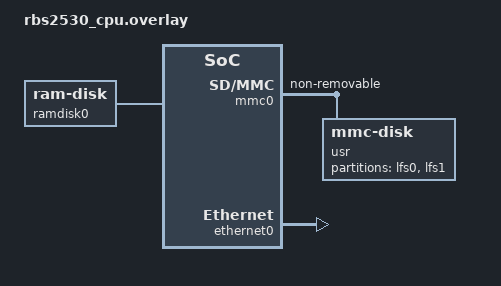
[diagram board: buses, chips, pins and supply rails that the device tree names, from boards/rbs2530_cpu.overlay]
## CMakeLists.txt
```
# SPDX-License-Identifier: Apache-2.0

cmake_minimum_required(VERSION 3.20.0)

find_package(Zephyr REQUIRED HINTS $ENV{ZEPHYR_BASE})
project(rte_basic)

target_sources(app PRIVATE src/main.c)
target_link_libraries(app PUBLIC ${CMAKE_CURRENT_SOURCE_DIR}/lib/librte.a)
```

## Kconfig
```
# Private config options for echo-server sample app

# Copyright (c) 2018 Intel Corporation
# SPDX-License-Identifier: Apache-2.0

mainmenu "app_rte"

config NET_SAMPLE_NUM_HANDLERS
	int "How many connections to serve at the same time"
	default 1
	help
	  Each connection is served by a thread which needs
	  memory. Only increase the value here if really needed.

config NET_SAMPLE_IFACE2_MY_IPV6_ADDR
	string "My IPv6 address for second interface"
	help
	  The value depends on your network setup.

config NET_SAMPLE_IFACE2_MY_IPV4_ADDR
	string "My IPv4 address for second interface"
	help
	  The value depends on your network setup.

config NET_SAMPLE_IFACE2_MY_IPV4_NETMASK
	string "My IPv4 netmask for second interface"
	help
	  The value depends on your network setup.

config NET_SAMPLE_IFACE2_VLAN_TAG
	int "VLAN tag for second interface"
	default 100
	range 0 4094
	depends on NET_VLAN
	help
	  Set VLAN (virtual LAN) tag (id) that is used in the sample
	  application.

config NET_SAMPLE_IFACE3_MY_IPV6_ADDR
	string "My IPv6 address for third interface"
	help
	  The value depends on your network setup.

config NET_SAMPLE_IFACE3_MY_IPV4_ADDR
	string "My IPv4 address for third interface"
	help
	  The value depends on your network setup.

config NET_SAMPLE_IFACE3_MY_IPV4_NETMASK
	string "My IPv4 netmask for third interface"
	help
	  The value depends on your network setup.

config NET_SAMPLE_IFACE3_VLAN_TAG
	int "VLAN tag for third interface"
	default 200
	range 0 4094
	depends on NET_VLAN
	help
	  Set VLAN (virtual LAN) tag (id) that is used in the sample
	  application.

config NET_SAMPLE_TUNNEL_PEER_ADDR
	string "Remote IP address of the tunnel interface"
	depends on NET_L2_IPIP
	help
	  Use overlay-tunnel.conf to setup the tunnel support.

config NET_SAMPLE_TUNNEL_MY_ADDR
	string "My address for tunnel interface"
	depends on NET_L2_IPIP
	help
	  The value depends on your network setup.

config NET_SAMPLE_PSK_HEADER_FILE
	string "Header file containing PSK"
	default "dummy_psk.h"
	depends on MBEDTLS_KEY_EXCHANGE_PSK_ENABLED
	help
	  Name of a header file containing a
	  pre-shared key.

config NET_SAMPLE_CERTS_WITH_SC
	bool "Signed certificates"
	depends on NET_SOCKETS_SOCKOPT_TLS
	help
	  Enable this flag, if you are interested to run this
	  application with signed certificates and keys.

config APP_WIPE_STORAGE
	bool "Option to clear the flash area before mounting"
	help
	  Use this to force an existing file system to be created.

choice
	prompt "Storage backend type used by the application"
	default APP_LITTLEFS_STORAGE_FLASH
	help
	  Specify the type of storage backend.

config APP_LITTLEFS_STORAGE_FLASH
	bool "Use flash memory backend"

config APP_LITTLEFS_STORAGE_BLK_SDMMC
	bool "Use block device (e.g. SD MMC) backend"
endchoice

source "Kconfig.zephyr"
```

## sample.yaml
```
sample:
  description: rbs2530 rte basic sample
  name: rbs2530 rte basic
common:
  tags: app
tests:
  sample.rbs2530.rte.basic:
    tags: app
    platform_allow:
      - rbs2530_cpu
```

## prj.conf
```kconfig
# Generic networking options
CONFIG_NETWORKING=y
CONFIG_NET_UDP=y
CONFIG_NET_TCP=y
CONFIG_NET_IPV6=y
CONFIG_NET_IPV4=y
CONFIG_NET_SOCKETS=y
CONFIG_POSIX_API=y
CONFIG_NET_CONNECTION_MANAGER=y
CONFIG_NET_HOSTNAME_ENABLE=y

# Kernel options
CONFIG_MAIN_STACK_SIZE=2048
CONFIG_ENTROPY_GENERATOR=y
CONFIG_TEST_RANDOM_GENERATOR=y
CONFIG_INIT_STACKS=y

# Logging
CONFIG_NET_LOG=y
CONFIG_LOG=y
CONFIG_ASSERT=n
CONFIG_NET_STATISTICS=y
CONFIG_PRINTK=y

# Network buffers
CONFIG_NET_PKT_RX_COUNT=16
CONFIG_NET_PKT_TX_COUNT=16
CONFIG_NET_BUF_RX_COUNT=64
CONFIG_NET_BUF_TX_COUNT=64
CONFIG_NET_CONTEXT_NET_PKT_POOL=y

# IP address options
CONFIG_NET_IF_UNICAST_IPV6_ADDR_COUNT=3
CONFIG_NET_IF_MCAST_IPV6_ADDR_COUNT=4
CONFIG_NET_MAX_CONTEXTS=10

# Network shell
CONFIG_NET_SHELL=y
CONFIG_SHELL=y

# Network application options and configuration
CONFIG_NET_CONFIG_SETTINGS=y
CONFIG_NET_CONFIG_NEED_IPV6=y
CONFIG_NET_CONFIG_MY_IPV6_ADDR="2001:db8::1"
CONFIG_NET_CONFIG_PEER_IPV6_ADDR="2001:db8::2"
CONFIG_NET_CONFIG_NEED_IPV4=y
CONFIG_NET_CONFIG_MY_IPV4_ADDR="192.168.10.188"
CONFIG_NET_CONFIG_PEER_IPV4_ADDR="192.168.10.1"

# Number of socket descriptors might need adjusting
# if there are more than 1 handlers defined.
CONFIG_ZVFS_OPEN_MAX=12

# How many client can connect to echo-server simultaneously
CONFIG_NET_SAMPLE_NUM_HANDLERS=1

CONFIG_ETH_NATIVE_POSIX=n
CONFIG_NET_DRIVERS=y
CONFIG_NET_SOCKETS=y
CONFIG_NET_SOCKETS_OFFLOAD=y
CONFIG_NET_NATIVE_OFFLOADED_SOCKETS=y

#HEAP 256MB
CONFIG_HEAP_MEM_POOL_SIZE=1048576
#200MB
CONFIG_COMMON_LIBC_MALLOC_ARENA_SIZE=1048576
CONFIG_SYS_HEAP_BIG_ONLY=y
#CONFIG_MMU=y
#CONFIG_MPU=y

# IPv6 DAD requires lower level network interface access, below exposed socket-level access
CONFIG_NET_IPV6_DAD=n

#little fs
CONFIG_FLASH=y

#CONFIG_FS_LOG_LEVEL_DBG=y

CONFIG_SHELL_LOG_LEVEL_INF=y

CONFIG_FILE_SYSTEM=y
CONFIG_FILE_SYSTEM_SHELL=y

CONFIG_FILE_SYSTEM_LITTLEFS=y
CONFIG_FLASH_MAP=y

#threads
CONFIG_SCHED_CPU_MASK=y
CONFIG_MP_MAX_NUM_CPUS=1

CONFIG_INIT_STACKS=y
CONFIG_THREAD_STACK_INFO=y
CONFIG_MAX_THREAD_BYTES=5
CONFIG_DYNAMIC_THREAD=y
CONFIG_DYNAMIC_THREAD_POOL_SIZE=16
CONFIG_DYNAMIC_THREAD_ALLOC=y
CONFIG_POSIX_THREAD_THREADS_MAX=64
CONFIG_MAX_PTHREAD_MUTEX_COUNT=64

#CPU
#CONFIG_SMP=y
#CONFIG_MP_MAX_NUM_CPUS=4
#CONFIG_SYS_CLOCK_HW_CYCLES_PER_SEC=100000000

#SYSTEM TICKS
CONFIG_SYS_CLOCK_TICKS_PER_SEC=1000

#SYSTEM PRIORITIES
CONFIG_NUM_COOP_PRIORITIES=16
CONFIG_NUM_PREEMPT_PRIORITIES=127

CONFIG_TIMESLICE_SIZE=1
```

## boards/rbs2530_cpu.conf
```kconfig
# Application configuration
CONFIG_APP_LITTLEFS_STORAGE_BLK_SDMMC=y

# SDMMC configuration
CONFIG_GPIO=y
CONFIG_SDHC=y
CONFIG_SDMMC_STACK=y

# Disk driver configuration
CONFIG_DISK_DRIVERS=y
CONFIG_DISK_ACCESS=y
CONFIG_DISK_DRIVER_SDMMC=y
CONFIG_DISK_DRIVER_MMC=y

# Littlefs configuration
CONFIG_FS_LITTLEFS_BLK_DEV=y
CONFIG_FS_LITTLEFS_CACHE_SIZE=512

CONFIG_ARM_MMU_NUM_L2_TABLES=1024

# FATFS
CONFIG_FILE_SYSTEM=y
CONFIG_FILE_SYSTEM_MKFS=y
CONFIG_FAT_FILESYSTEM_ELM=y

CONFIG_MAIN_STACK_SIZE=8192
CONFIG_SYSTEM_WORKQUEUE_STACK_SIZE=8192
CONFIG_NET_SOCKETS_SERVICE_STACK_SIZE=8192
CONFIG_NET_CONNECTION_MANAGER_MONITOR_STACK_SIZE=8192
CONFIG_ETH_FMQL=y
CONFIG_MDIO=y
CONFIG_SERIAL_INIT_PRIORITY=50
CONFIG_ETH_INIT_PRIORITY=95
# CONFIG_NO_OPTIMIZATIONS=y
CONFIG_NOCACHE_MEMORY=y

CONFIG_NET_L2_ETHERNET=y
CONFIG_NET_L2_ETHERNET_MGMT=y
CONFIG_NET_ICMPV4_ACCEPT_BROADCAST=y
CONFIG_NET_SOCKETS_SERVICE=y
CONFIG_NET_SOCKETS_SERVICE_THREAD_PRIO=10
CONFIG_NET_SOCKETS=y
CONFIG_NET_SOCKETS_POSIX_NAMES=y
CONFIG_NET_SOCKETS_POLL_MAX=128

CONFIG_NET_PKT_RX_COUNT=256
CONFIG_NET_PKT_TX_COUNT=256
CONFIG_NET_BUF_RX_COUNT=800
CONFIG_NET_BUF_TX_COUNT=800

CONFIG_NET_ZPERF=y


CONFIG_NET_TCP_MAX_RECV_WINDOW_SIZE=65535
CONFIG_NET_TCP_MAX_SEND_WINDOW_SIZE=65535

CONFIG_NET_BUF_DATA_SIZE=1536

# eMMC driver
CONFIG_SDHC=y
CONFIG_MMC_STACK=y

# littlefs for eMMC
CONFIG_DISK_ACCESS=y
CONFIG_DISK_DRIVER_MMC=y
CONFIG_FS_LITTLEFS_BLK_DEV=y
CONFIG_FS_LITTLEFS_HEAP_PER_ALLOC_OVERHEAD_SIZE=128

# app for eMMC
CONFIG_APP_LITTLEFS_STORAGE_BLK_SDMMC=y
```

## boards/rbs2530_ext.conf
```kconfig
# Application configuration
CONFIG_APP_LITTLEFS_STORAGE_BLK_SDMMC=y

# SDMMC configuration
CONFIG_GPIO=y
CONFIG_SDHC=y
CONFIG_SDMMC_STACK=y

# Disk driver configuration
CONFIG_DISK_DRIVERS=y
CONFIG_DISK_ACCESS=y
CONFIG_DISK_DRIVER_SDMMC=y
CONFIG_DISK_DRIVER_MMC=y

# Littlefs configuration
CONFIG_FS_LITTLEFS_BLK_DEV=y
CONFIG_FS_LITTLEFS_CACHE_SIZE=512

CONFIG_ARM_MMU_NUM_L2_TABLES=1024

# FATFS
CONFIG_FILE_SYSTEM=y
CONFIG_FILE_SYSTEM_MKFS=y
CONFIG_FAT_FILESYSTEM_ELM=y

CONFIG_MAIN_STACK_SIZE=8192
CONFIG_SYSTEM_WORKQUEUE_STACK_SIZE=8192
CONFIG_NET_SOCKETS_SERVICE_STACK_SIZE=8192
CONFIG_NET_CONNECTION_MANAGER_MONITOR_STACK_SIZE=8192
CONFIG_ETH_FMQL=y
CONFIG_MDIO=y
CONFIG_SERIAL_INIT_PRIORITY=50
CONFIG_ETH_INIT_PRIORITY=80
# CONFIG_NO_OPTIMIZATIONS=y
CONFIG_NOCACHE_MEMORY=y

CONFIG_NET_L2_ETHERNET=y
CONFIG_NET_L2_ETHERNET_MGMT=y
CONFIG_NET_ICMPV4_ACCEPT_BROADCAST=y
CONFIG_NET_SOCKETS_SERVICE=y
CONFIG_NET_SOCKETS_SERVICE_THREAD_PRIO=10
CONFIG_NET_SOCKETS=y
CONFIG_NET_SOCKETS_POSIX_NAMES=y
CONFIG_NET_SOCKETS_POLL_MAX=128

CONFIG_NET_PKT_RX_COUNT=256
CONFIG_NET_PKT_TX_COUNT=256
CONFIG_NET_BUF_RX_COUNT=800
CONFIG_NET_BUF_TX_COUNT=800

CONFIG_NET_ZPERF=y


CONFIG_NET_TCP_MAX_RECV_WINDOW_SIZE=65535
CONFIG_NET_TCP_MAX_SEND_WINDOW_SIZE=65535

CONFIG_NET_BUF_DATA_SIZE=1536

# eMMC driver
CONFIG_SDHC=y
CONFIG_MMC_STACK=y

# littlefs for eMMC
CONFIG_DISK_ACCESS=y
CONFIG_DISK_DRIVER_MMC=y
CONFIG_FS_LITTLEFS_BLK_DEV=y
CONFIG_FS_LITTLEFS_HEAP_PER_ALLOC_OVERHEAD_SIZE=128

# app for eMMC
CONFIG_APP_LITTLEFS_STORAGE_BLK_SDMMC=y
```

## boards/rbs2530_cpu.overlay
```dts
/**
 * Copyright (c) 2024 SYSTech Co.
 * SPDX-License-Identifier: Apache-2.0
 */

#include <zephyr/dt-bindings/gpio/gpio.h>

/ {
	ramdisk0 {
		compatible = "zephyr,ram-disk";
		disk-name = "RAM";
		sector-size = <512>;
		sector-count = <128>;
	};
};

&mmc0 {
	status = "okay";
	non-removable;

	usr {
		compatible = "zephyr,mmc-disk";
		status = "okay";
		bus-width = <4>;
		disk-name = "MMC";

		partitions {
			compatible = "fixed-partitions";
			#address-cells = <1>;
			#size-cells = <1>;

			lfs0_partition: partition@0 {
				label = "lfs0";
				reg = <0x00000000 0x08000000>;
			};

			lfs1_partition: partition@8000000 {
				label = "lfs1";
				reg = <0x08000000 0x08000000>;
			};
		};
	};
};

&gpio1 {
	status = "okay";
};

&ethernet0 {
	status = "okay";
	local-mac-address = [00 80 E1 00 00 00];
};
```

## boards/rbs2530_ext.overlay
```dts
/**
 * Copyright (c) 2024 SYSTech Co.
 * SPDX-License-Identifier: Apache-2.0
 */

#include <zephyr/dt-bindings/gpio/gpio.h>

/ {
	ramdisk0 {
		compatible = "zephyr,ram-disk";
		disk-name = "RAM";
		sector-size = <512>;
		sector-count = <128>;
	};
};

&mmc0 {
	status = "okay";
	non-removable;

	usr {
		compatible = "zephyr,mmc-disk";
		status = "okay";
		bus-width = <4>;
	};
};

&gpio1 {
	status = "okay";
};

&ethernet0 {
	status = "okay";
	local-mac-address = [00 80 E1 00 00 00];
};
```

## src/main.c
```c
/*
 * Copyright (c) 2024 SYSTech Co.
 *
 * SPDX-License-Identifier: Apache-2.0
 */

#include <errno.h>
#include <stdint.h>
#include <stdio.h>
#include <zephyr/devicetree.h>
#include <zephyr/drivers/disk.h>
#include <zephyr/fs/fs.h>
#include <zephyr/fs/littlefs.h>
#include <zephyr/kernel.h>
#include <zephyr/logging/log.h>
#include <zephyr/sd/sd_spec.h>
#include <zephyr/storage/disk_access.h>
#include <zephyr/sys_clock.h>
#include <ff.h>

#include "rte_main.h"

#define LOG_MODULE_NAME main
LOG_MODULE_REGISTER(LOG_MODULE_NAME, LOG_LEVEL_DBG);

static int fs_default_mount(void);

int main(void)
{
	int32_t ret;
	uint32_t sleep_ms = 10;

	LOG_INF("Board name is %s\n", CONFIG_BOARD_TARGET);
	if (fs_default_mount()) {
		return -1;
	}

	ret = RteInit();
	if (ret != 0) {
		LOG_ERR("RteInit err");
		return ret;
	}

	while (1) {
		k_msleep(sleep_ms);
	}
	return 0;
}

#if defined(CONFIG_DISK_DRIVER_SDMMC)
#define DISK_NAME CONFIG_SDMMC_VOLUME_NAME
#elif defined(CONFIG_DISK_DRIVER_MMC)
#define DISK_NAME CONFIG_MMC_VOLUME_NAME
#else
#error "No disk device defined, is your board supported?"
#endif

#define LFS0_PARTITION_NODE DT_NODELABEL(lfs0_partition)
#define LFS1_PARTITION_NODE DT_NODELABEL(lfs1_partition)

struct partition_disk {
	struct disk_info info;
	const char *parent_name;
	uint32_t offset;
	uint32_t size;
	uint32_t start_sector;
	uint32_t sector_count;
	uint32_t sector_size;
};

static struct partition_disk *partition_from_disk(struct disk_info *disk)
{
	return CONTAINER_OF(disk, struct partition_disk, info);
}

static int partition_setup(struct partition_disk *part)
{
	uint32_t parent_sector_count;
	uint64_t parent_size;
	uint64_t end;
	int ret;

	if (part->sector_size != 0U) {
		return 0;
	}

	ret = disk_access_init(part->parent_name);
	if (ret < 0) {
		return ret;
	}

	ret = disk_access_ioctl(part->parent_name, DISK_IOCTL_GET_SECTOR_SIZE, &part->sector_size);
	if (ret < 0) {
		return ret;
	}

	ret = disk_access_ioctl(part->parent_name, DISK_IOCTL_GET_SECTOR_COUNT,
			       &parent_sector_count);
	if (ret < 0) {
		return ret;
	}

	if ((part->offset % part->sector_size) != 0U || (part->size % part->sector_size) != 0U) {
		return -EINVAL;
	}

	end = (uint64_t)part->offset + part->size;
	parent_size = (uint64_t)parent_sector_count * part->sector_size;
	if (end < part->offset || end > parent_size) {
		return -EINVAL;
	}

	part->start_sector = part->offset / part->sector_size;
	part->sector_count = part->size / part->sector_size;

	return 0;
}

static int partition_disk_init(struct disk_info *disk)
{
	return partition_setup(partition_from_disk(disk));
}

static int partition_disk_status(struct disk_info *disk)
{
	struct partition_disk *part = partition_from_disk(disk);

	return disk_access_status(part->parent_name);
}

static int partition_disk_read(struct disk_info *disk, uint8_t *data_buf, uint32_t start_sector,
			       uint32_t num_sector)
{
	struct partition_disk *part = partition_from_disk(disk);
	uint32_t end_sector = start_sector + num_sector;
	int ret;

	ret = partition_setup(part);
	if (ret < 0) {
		return ret;
	}

	if (end_sector < start_sector || end_sector > part->sector_count) {
		return -EIO;
	}

	return disk_access_read(part->parent_name, data_buf, part->start_sector + start_sector,
				num_sector);
}

static int partition_disk_write(struct disk_info *disk, const uint8_t *data_buf,
				uint32_t start_sector, uint32_t num_sector)
{
	struct partition_disk *part = partition_from_disk(disk);
	uint32_t end_sector = start_sector + num_sector;
	int ret;

	ret = partition_setup(part);
	if (ret < 0) {
		return ret;
	}

	if (end_sector < start_sector || end_sector > part->sector_count) {
		return -EIO;
	}

	return disk_access_write(part->parent_name, data_buf, part->start_sector + start_sector,
				 num_sector);
}

static int partition_disk_ioctl(struct disk_info *disk, uint8_t cmd, void *buff)
{
	struct partition_disk *part = partition_from_disk(disk);
	int ret;

	switch (cmd) {
	case DISK_IOCTL_CTRL_INIT:
		return partition_setup(part);
	case DISK_IOCTL_GET_SECTOR_COUNT:
		ret = partition_setup(part);
		if (ret < 0) {
			return ret;
		}
		*(uint32_t *)buff = part->sector_count;
		return 0;
	case DISK_IOCTL_GET_SECTOR_SIZE:
		ret = partition_setup(part);
		if (ret < 0) {
			return ret;
		}
		*(uint32_t *)buff = part->sector_size;
		return 0;
	case DISK_IOCTL_GET_ERASE_BLOCK_SZ:
		*(uint32_t *)buff = 1U;
		return 0;
	case DISK_IOCTL_CTRL_SYNC:
		return disk_access_ioctl(part->parent_name, cmd, buff);
	case DISK_IOCTL_CTRL_DEINIT:
		return 0;
	default:
		return -EINVAL;
	}
}

static const struct disk_operations partition_disk_ops = {
	.init = partition_disk_init,
	.status = partition_disk_status,
	.read = partition_disk_read,
	.write = partition_disk_write,
	.ioctl = partition_disk_ioctl,
};

static struct partition_disk lfs0_disk = {
	.info.name = "LFS0",
	.info.ops = &partition_disk_ops,
	.parent_name = DISK_NAME,
	.offset = DT_REG_ADDR(LFS0_PARTITION_NODE),
	.size = DT_REG_SIZE(LFS0_PARTITION_NODE),
};

static struct partition_disk lfs1_disk = {
	.info.name = "LFS1",
	.info.ops = &partition_disk_ops,
	.parent_name = DISK_NAME,
	.offset = DT_REG_ADDR(LFS1_PARTITION_NODE),
	.size = DT_REG_SIZE(LFS1_PARTITION_NODE),
};

FS_LITTLEFS_DECLARE_CUSTOM_CONFIG(lfs0_data, CONFIG_SDHC_BUFFER_ALIGNMENT, SDMMC_DEFAULT_BLOCK_SIZE,
				  SDMMC_DEFAULT_BLOCK_SIZE, SDMMC_DEFAULT_BLOCK_SIZE,
				  2 * SDMMC_DEFAULT_BLOCK_SIZE);
FS_LITTLEFS_DECLARE_CUSTOM_CONFIG(lfs1_data, CONFIG_SDHC_BUFFER_ALIGNMENT, SDMMC_DEFAULT_BLOCK_SIZE,
				  SDMMC_DEFAULT_BLOCK_SIZE, SDMMC_DEFAULT_BLOCK_SIZE,
				  2 * SDMMC_DEFAULT_BLOCK_SIZE);

static struct fs_mount_t lfs0_mount = {
	.type = FS_LITTLEFS,
	.fs_data = &lfs0_data,
	.flags = FS_MOUNT_FLAG_USE_DISK_ACCESS,
	.storage_dev = "LFS0",
	.mnt_point = "/lfs",
};

static struct fs_mount_t lfs1_mount = {
	.type = FS_LITTLEFS,
	.fs_data = &lfs1_data,
	.flags = FS_MOUNT_FLAG_USE_DISK_ACCESS,
	.storage_dev = "LFS1",
	.mnt_point = "/lfs1",
};

static int fs_default_mount(void)
{
	int ret;

	ret = disk_access_register(&lfs0_disk.info);
	if (ret < 0) {
		LOG_ERR("Failed to register LFS0 disk: %d", ret);
		return ret;
	}

	ret = disk_access_register(&lfs1_disk.info);
	if (ret < 0) {
		LOG_ERR("Failed to register LFS1 disk: %d", ret);
		return ret;
	}

	ret = fs_mount(&lfs0_mount);
	if (ret < 0) {
		LOG_ERR("FAIL: mount %s at %s: %d", (const char *)lfs0_mount.storage_dev,
			lfs0_mount.mnt_point, ret);
		return ret;
	}

	LOG_INF("%s mount: %d", lfs0_mount.mnt_point, ret);

	ret = fs_mount(&lfs1_mount);
	if (ret < 0) {
		LOG_ERR("FAIL: mount %s at %s: %d", (const char *)lfs1_mount.storage_dev,
			lfs1_mount.mnt_point, ret);
		(void)fs_unmount(&lfs0_mount);
		return ret;
	}

	LOG_INF("%s mount: %d", lfs1_mount.mnt_point, ret);
	return 0;
}
```

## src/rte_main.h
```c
/*
 * 版    权: Copyright (c) 2024, NIPC_TH
 * 文 件 名: rte_main.h
 * 作    者: sven
 * 时    间: 2024.10.01
 * 功能描述: RTE 主函数接口 初始化和运行
 * 其    他:
 * 修订历史:
 */

#ifndef __RTE_MAIN_H__
#define __RTE_MAIN_H__

#ifdef __cplusplus
extern "C" {
#endif

int RteInit(void);

#ifdef __cplusplus
}
#endif

#endif
```
